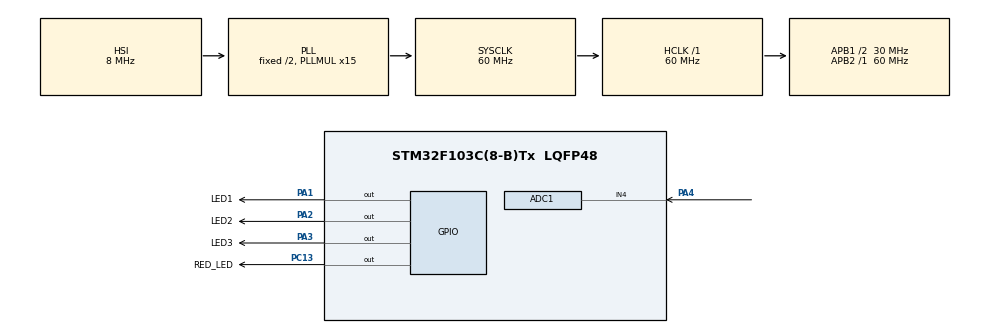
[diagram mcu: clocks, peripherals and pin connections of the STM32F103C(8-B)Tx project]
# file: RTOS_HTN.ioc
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ADC1.Channel-0\#ChannelRegularConversion=ADC_CHANNEL_4
ADC1.ExternalTrigConv=ADC_SOFTWARE_START
ADC1.NbrOfConversionFlag=1
ADC1.Rank-0\#ChannelRegularConversion=1
ADC1.SamplingTime-0\#ChannelRegularConversion=ADC_SAMPLETIME_1CYCLE_5
ADC1.master=1
Dma.ADC1.0.Direction=DMA_PERIPH_TO_MEMORY
Dma.ADC1.0.Instance=DMA1_Channel1
Dma.ADC1.0.MemDataAlignment=DMA_MDATAALIGN_HALFWORD
Dma.ADC1.0.MemInc=DMA_MINC_ENABLE
Dma.ADC1.0.Mode=DMA_NORMAL
Dma.ADC1.0.PeriphDataAlignment=DMA_PDATAALIGN_HALFWORD
Dma.ADC1.0.PeriphInc=DMA_PINC_DISABLE
Dma.ADC1.0.Priority=DMA_PRIORITY_MEDIUM
Dma.MEMTOMEM.1.Direction=DMA_MEMORY_TO_MEMORY
Dma.MEMTOMEM.1.Instance=DMA1_Channel2
Dma.MEMTOMEM.1.MemDataAlignment=DMA_MDATAALIGN_HALFWORD
Dma.MEMTOMEM.1.MemInc=DMA_MINC_ENABLE
Dma.MEMTOMEM.1.Mode=DMA_NORMAL
Dma.MEMTOMEM.1.PeriphDataAlignment=DMA_PDATAALIGN_HALFWORD
Dma.MEMTOMEM.1.PeriphInc=DMA_PINC_ENABLE
Dma.MEMTOMEM.1.Priority=DMA_PRIORITY_HIGH
Dma.Request0=ADC1
Dma.Request1=MEMTOMEM
FREERTOS.Queues01=ADC_QName,16,uint32_t,0,Static,ADC_QNameBuffer,ADC_QNameControlBlock
FREERTOS.Tasks01=defaultTask,1,150,StartDefaultTask,Default,NULL,Static,defaultTaskBuffer,defaultTaskControlBlock;myTask02,0,150,StartTask02,Default,NULL,Static,myTask02Buffer,myTask02ControlBlock;myTask03,0,150,StartTask03,Default,NULL,Static,myTask03Buffer,myTask03ControlBlock
Mcu.Family=STM32F1
Mcu.Name=STM32F103C(8-B)Tx
Mcu.Package=LQFP48
NVIC.DMA1_Channel1_IRQn=true\:7\:0\:true\:false\:true\:true\:false\:true\:true
NVIC.PriorityGroup=NVIC_PRIORITYGROUP_4
NVIC.TIM2_IRQn=true\:15\:0\:false\:false\:true\:false\:false\:true\:true
NVIC.TIM4_IRQn=true\:5\:0\:true\:false\:true\:true\:true\:true\:true
NVIC.TimeBase=TIM2_IRQn
NVIC.TimeBaseIP=TIM2
PA1.GPIO_Label=LED1
PA1.Signal=GPIO_Output
PA13.Mode=Serial_Wire
PA13.Signal=SYS_JTMS-SWDIO
PA14.Mode=Serial_Wire
PA14.Signal=SYS_JTCK-SWCLK
PA2.GPIO_Label=LED2
PA2.Signal=GPIO_Output
PA3.GPIO_Label=LED3
PA3.Signal=GPIO_Output
PA4.Signal=ADCx_IN4
PC13-TAMPER-RTC.GPIO_Label=RED_LED
PC13-TAMPER-RTC.Signal=GPIO_Output
ProjectManager.HeapSize=0x200
ProjectManager.StackSize=0x400
ProjectManager.TargetToolchain=MDK-ARM V5.32
RCC.ADCPresc=RCC_ADCPCLK2_DIV6
RCC.AHBFreq_Value=60000000
RCC.APB1CLKDivider=RCC_HCLK_DIV2
RCC.APB1Freq_Value=30000000
RCC.APB1TimFreq_Value=60000000
RCC.APB2Freq_Value=60000000
RCC.APB2TimFreq_Value=60000000
RCC.HCLKFreq_Value=60000000
RCC.PLLMUL=RCC_PLL_MUL15
RCC.SYSCLKFreq_VALUE=60000000
RCC.SYSCLKSource=RCC_SYSCLKSOURCE_PLLCLK
RCC.USBFreq_Value=60000000
SH.ADCx_IN4.0=ADC1_IN4,IN4
TIM4.AutoReloadPreload=TIM_AUTORELOAD_PRELOAD_ENABLE
TIM4.Period=50000
TIM4.Prescaler=599
VP_FREERTOS_VS_CMSIS_V1.Mode=CMSIS_V1
VP_SYS_VS_tim2.Mode=TIM2
VP_TIM4_VS_ClockSourceINT.Mode=Internal
board=custom

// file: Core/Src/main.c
/* USER CODE BEGIN Header */
/**
  ******************************************************************************
  * @file           : main.c
  * @brief          : Main program body
  ******************************************************************************
  * @attention
  *
  * Copyright (c) 2024 STMicroelectronics.
  * All rights reserved.
  *
  * This software is licensed under terms that can be found in the LICENSE file
  * in the root directory of this software component.
  * If no LICENSE file comes with this software, it is provided AS-IS.
  *
  ******************************************************************************
  */
/* USER CODE END Header */
#include "main.h"
#include "cmsis_os.h"

/* USER CODE BEGIN Includes */
#include <assert.h>
/* USER CODE END Includes */

/* USER CODE BEGIN PD */
#define ADC_Buffer_Size 1

// x starts at 0 and end at 63
#define FLASH_PAGE_X_OFFSET(x) (0x08000000UL + (0x400UL * x))
/* USER CODE END PD */

ADC_HandleTypeDef hadc1;
DMA_HandleTypeDef hdma_adc1;

TIM_HandleTypeDef htim4;

DMA_HandleTypeDef hdma_memtomem_dma1_channel2;
osThreadId defaultTaskHandle;
uint32_t defaultTaskBuffer[ 150 ];
osStaticThreadDef_t defaultTaskControlBlock;
osThreadId myTask02Handle;
uint32_t myTask02Buffer[ 150 ];
osStaticThreadDef_t myTask02ControlBlock;
osThreadId myTask03Handle;
uint32_t myTask03Buffer[ 150 ];
osStaticThreadDef_t myTask03ControlBlock;
osMessageQId ADC_QNameHandle;
uint8_t ADC_QNameBuffer[ 16 * sizeof( uint32_t ) ];
osStaticMessageQDef_t ADC_QNameControlBlock;
/* USER CODE BEGIN PV */
uint32_t ADC_Buffer;
uint32_t FLASH_Data;
extern FLASH_ProcessTypeDef pFlash;
/* USER CODE END PV */

void SystemClock_Config(void);
static void MX_GPIO_Init(void);
static void MX_DMA_Init(void);
static void MX_ADC1_Init(void);
static void MX_TIM4_Init(void);
void StartDefaultTask(void const * argument);
void StartTask02(void const * argument);
void StartTask03(void const * argument);

int main(void)
{

  /* MCU Configuration--------------------------------------------------------*/

  /* Reset of all peripherals, Initializes the Flash interface and the Systick. */
  HAL_Init();

  /* Configure the system clock */
  SystemClock_Config();

  /* Initialize all configured peripherals */
  MX_GPIO_Init();
  MX_DMA_Init();
  MX_ADC1_Init();
  MX_TIM4_Init();

  /* Create the queue(s) */
  /* definition and creation of ADC_QName */
  osMessageQStaticDef(ADC_QName, 16, uint32_t, ADC_QNameBuffer, &ADC_QNameControlBlock);
  ADC_QNameHandle = osMessageCreate(osMessageQ(ADC_QName), NULL);

  /* Create the thread(s) */
  /* definition and creation of defaultTask */
  osThreadStaticDef(defaultTask, StartDefaultTask, osPriorityAboveNormal, 0, 150, defaultTaskBuffer, &defaultTaskControlBlock);
  defaultTaskHandle = osThreadCreate(osThread(defaultTask), NULL);

  /* definition and creation of myTask02 */
  osThreadStaticDef(myTask02, StartTask02, osPriorityNormal, 0, 150, myTask02Buffer, &myTask02ControlBlock);
  myTask02Handle = osThreadCreate(osThread(myTask02), NULL);

  /* definition and creation of myTask03 */
  osThreadStaticDef(myTask03, StartTask03, osPriorityNormal, 0, 150, myTask03Buffer, &myTask03ControlBlock);
  myTask03Handle = osThreadCreate(osThread(myTask03), NULL);

  /* Start scheduler */
  osKernelStart();

  /* We should never get here as control is now taken by the scheduler */

  /* Infinite loop */
  while (1)
  {

  }
}

void SystemClock_Config(void)
{
  RCC_OscInitTypeDef RCC_OscInitStruct = {0};
  RCC_ClkInitTypeDef RCC_ClkInitStruct = {0};
  RCC_PeriphCLKInitTypeDef PeriphClkInit = {0};

  /** Initializes the RCC Oscillators according to the specified parameters
  * in the RCC_OscInitTypeDef structure.
  */
  RCC_OscInitStruct.OscillatorType = RCC_OSCILLATORTYPE_HSI;
  RCC_OscInitStruct.HSIState = RCC_HSI_ON;
  RCC_OscInitStruct.HSICalibrationValue = RCC_HSICALIBRATION_DEFAULT;
  RCC_OscInitStruct.PLL.PLLState = RCC_PLL_ON;
  RCC_OscInitStruct.PLL.PLLSource = RCC_PLLSOURCE_HSI_DIV2;
  RCC_OscInitStruct.PLL.PLLMUL = RCC_PLL_MUL15;
  if (HAL_RCC_OscConfig(&RCC_OscInitStruct) != HAL_OK)
  {
    Error_Handler();
  }

  /** Initializes the CPU, AHB and APB buses clocks
  */
  RCC_ClkInitStruct.ClockType = RCC_CLOCKTYPE_HCLK|RCC_CLOCKTYPE_SYSCLK
                              |RCC_CLOCKTYPE_PCLK1|RCC_CLOCKTYPE_PCLK2;
  RCC_ClkInitStruct.SYSCLKSource = RCC_SYSCLKSOURCE_PLLCLK;
  RCC_ClkInitStruct.AHBCLKDivider = RCC_SYSCLK_DIV1;
  RCC_ClkInitStruct.APB1CLKDivider = RCC_HCLK_DIV2;
  RCC_ClkInitStruct.APB2CLKDivider = RCC_HCLK_DIV1;

  if (HAL_RCC_ClockConfig(&RCC_ClkInitStruct, FLASH_LATENCY_2) != HAL_OK)
  {
    Error_Handler();
  }
  PeriphClkInit.PeriphClockSelection = RCC_PERIPHCLK_ADC;
  PeriphClkInit.AdcClockSelection = RCC_ADCPCLK2_DIV6;
  if (HAL_RCCEx_PeriphCLKConfig(&PeriphClkInit) != HAL_OK)
  {
    Error_Handler();
  }
}

static void MX_ADC1_Init(void)
{

  ADC_ChannelConfTypeDef sConfig = {0};

  /** Common config
  */
  hadc1.Instance = ADC1;
  hadc1.Init.ScanConvMode = ADC_SCAN_DISABLE;
  hadc1.Init.ContinuousConvMode = DISABLE;
  hadc1.Init.DiscontinuousConvMode = DISABLE;
  hadc1.Init.ExternalTrigConv = ADC_SOFTWARE_START;
  hadc1.Init.DataAlign = ADC_DATAALIGN_RIGHT;
  hadc1.Init.NbrOfConversion = 1;
  if (HAL_ADC_Init(&hadc1) != HAL_OK)
  {
    Error_Handler();
  }

  /** Configure Regular Channel
  */
  sConfig.Channel = ADC_CHANNEL_4;
  sConfig.Rank = ADC_REGULAR_RANK_1;
  sConfig.SamplingTime = ADC_SAMPLETIME_1CYCLE_5;
  if (HAL_ADC_ConfigChannel(&hadc1, &sConfig) != HAL_OK)
  {
    Error_Handler();
  }

}

static void MX_TIM4_Init(void)
{

  TIM_ClockConfigTypeDef sClockSourceConfig = {0};
  TIM_MasterConfigTypeDef sMasterConfig = {0};

  htim4.Instance = TIM4;
  htim4.Init.Prescaler = 599;
  htim4.Init.CounterMode = TIM_COUNTERMODE_UP;
  htim4.Init.Period = 50000;
  htim4.Init.ClockDivision = TIM_CLOCKDIVISION_DIV1;
  htim4.Init.AutoReloadPreload = TIM_AUTORELOAD_PRELOAD_ENABLE;
  if (HAL_TIM_Base_Init(&htim4) != HAL_OK)
  {
    Error_Handler();
  }
  sClockSourceConfig.ClockSource = TIM_CLOCKSOURCE_INTERNAL;
  if (HAL_TIM_ConfigClockSource(&htim4, &sClockSourceConfig) != HAL_OK)
  {
    Error_Handler();
  }
  sMasterConfig.MasterOutputTrigger = TIM_TRGO_RESET;
  sMasterConfig.MasterSlaveMode = TIM_MASTERSLAVEMODE_DISABLE;
  if (HAL_TIMEx_MasterConfigSynchronization(&htim4, &sMasterConfig) != HAL_OK)
  {
    Error_Handler();
  }

}

static void MX_DMA_Init(void)
{

  /* DMA controller clock enable */
  __HAL_RCC_DMA1_CLK_ENABLE();

  /* Configure DMA request hdma_memtomem_dma1_channel2 on DMA1_Channel2 */
  hdma_memtomem_dma1_channel2.Instance = DMA1_Channel2;
  hdma_memtomem_dma1_channel2.Init.Direction = DMA_MEMORY_TO_MEMORY;
  hdma_memtomem_dma1_channel2.Init.PeriphInc = DMA_PINC_ENABLE;
  hdma_memtomem_dma1_channel2.Init.MemInc = DMA_MINC_ENABLE;
  hdma_memtomem_dma1_channel2.Init.PeriphDataAlignment = DMA_PDATAALIGN_HALFWORD;
  hdma_memtomem_dma1_channel2.Init.MemDataAlignment = DMA_MDATAALIGN_HALFWORD;
  hdma_memtomem_dma1_channel2.Init.Mode = DMA_NORMAL;
  hdma_memtomem_dma1_channel2.Init.Priority = DMA_PRIORITY_HIGH;
  if (HAL_DMA_Init(&hdma_memtomem_dma1_channel2) != HAL_OK)
  {
    Error_Handler( );
  }

  /* DMA interrupt init */
  /* DMA1_Channel1_IRQn interrupt configuration */
  HAL_NVIC_SetPriority(DMA1_Channel1_IRQn, 7, 0);
  HAL_NVIC_EnableIRQ(DMA1_Channel1_IRQn);

}

static void MX_GPIO_Init(void)
{
  GPIO_InitTypeDef GPIO_InitStruct = {0};

  /* GPIO Ports Clock Enable */
  __HAL_RCC_GPIOC_CLK_ENABLE();
  __HAL_RCC_GPIOA_CLK_ENABLE();

  /*Configure GPIO pin Output Level */
  HAL_GPIO_WritePin(RED_LED_GPIO_Port, RED_LED_Pin, GPIO_PIN_RESET);

  /*Configure GPIO pin Output Level */
  HAL_GPIO_WritePin(GPIOA, LED1_Pin|LED2_Pin|LED3_Pin, GPIO_PIN_RESET);

  /*Configure GPIO pin : RED_LED_Pin */
  GPIO_InitStruct.Pin = RED_LED_Pin;
  GPIO_InitStruct.Mode = GPIO_MODE_OUTPUT_PP;
  GPIO_InitStruct.Pull = GPIO_NOPULL;
  GPIO_InitStruct.Speed = GPIO_SPEED_FREQ_LOW;
  HAL_GPIO_Init(RED_LED_GPIO_Port, &GPIO_InitStruct);

  /*Configure GPIO pins : LED1_Pin LED2_Pin LED3_Pin */
  GPIO_InitStruct.Pin = LED1_Pin|LED2_Pin|LED3_Pin;
  GPIO_InitStruct.Mode = GPIO_MODE_OUTPUT_PP;
  GPIO_InitStruct.Pull = GPIO_NOPULL;
  GPIO_InitStruct.Speed = GPIO_SPEED_FREQ_LOW;
  HAL_GPIO_Init(GPIOA, &GPIO_InitStruct);

}

/* USER CODE BEGIN 4 */

void HAL_ADC_ConvCpltCallback(ADC_HandleTypeDef* hadc)
{
	if (hadc->Instance == ADC1) {
			osMessagePut(ADC_QNameHandle, ADC_Buffer, 50);
	}
}

static HAL_StatusTypeDef FLASH_DMA_Write(uint32_t Address, uint32_t Data)
{
	HAL_StatusTypeDef rc;
	uint8_t nbiterations;

	/* Process Locked */
	__HAL_LOCK(&pFlash);
	// Wait for last operation to finish
	rc = FLASH_WaitForLastOperation(FLASH_TIMEOUT_VALUE);
	if (rc == HAL_OK) {
		nbiterations = 2U;
		for (uint8_t index = 0U; index < nbiterations; index++) {

			/* Clean the error context */
			pFlash.ErrorCode = HAL_FLASH_ERROR_NONE;
			/* Proceed to program the new data */
			SET_BIT(FLASH->CR, FLASH_CR_PG);
			/* Write data to the flash address - currently not using DMA */
			Address = Address + (2U * index);
			Data = (uint16_t)(Data >> (16U * index));
			/* Use CPU */
			// *(__IO uint16_t*)Address = Data;
			/* Use DMA */
			HAL_DMA_Start(&hdma_memtomem_dma1_channel2, (uint32_t)&Data, Address, 1);
			while (HAL_DMA_PollForTransfer(&hdma_memtomem_dma1_channel2, HAL_DMA_FULL_TRANSFER, 100) != HAL_OK);
			/* End write to flash */

			/* Wait for last operation to be completed */
			rc = FLASH_WaitForLastOperation(FLASH_TIMEOUT_VALUE);

			/* If the program operation is completed, disable the PG Bit */
			CLEAR_BIT(FLASH->CR, FLASH_CR_PG);

			/* In case of error, stop writing to flash */
			if (rc != HAL_OK) {
				break;
			}
		}
	}

	/* Process Unlocked */
	__HAL_UNLOCK(&pFlash);

	return rc;
}

/* USER CODE END 4 */

void StartDefaultTask(void const * argument)
{
  /* USER CODE BEGIN 5 */
  /* Infinite loop */
	HAL_StatusTypeDef rc;
	FLASH_EraseInitTypeDef pEraseInit;
	uint32_t PageError;

	rc = HAL_TIM_Base_Start_IT(&htim4);
	assert(rc == HAL_OK && "Cannot start TIM4 clock for ADC sampling application");

	pEraseInit.Banks = FLASH_BANK_1;
	pEraseInit.NbPages = 1;
	pEraseInit.PageAddress = FLASH_PAGE_X_OFFSET(50);
	pEraseInit.TypeErase = FLASH_TYPEERASE_PAGES;

	for(;;)
  {
		// event.value.v hold the actual message (eg. the ADC1 data)
		osEvent event = osMessageGet(ADC_QNameHandle, osWaitForever);
		HAL_GPIO_TogglePin(LED1_GPIO_Port, LED1_Pin);
		// Unlock flash
		HAL_FLASH_Unlock();
		// Erase first
		HAL_FLASHEx_Erase(&pEraseInit, &PageError);
		// Write to flash
		// HAL function to write to FLASH using CPU - HAL_FLASH_Program(FLASH_TYPEPROGRAM_WORD, FLASH_PAGE_X_OFFSET(50), event.value.v);
		FLASH_DMA_Write(FLASH_PAGE_X_OFFSET(50), event.value.v);
		// Lock flash
		HAL_FLASH_Lock();

		// Read Flash
		FLASH_Data = *(__IO uint32_t *)(FLASH_PAGE_X_OFFSET(50));
  }
  /* USER CODE END 5 */
}

void StartTask02(void const * argument)
{
  /* USER CODE BEGIN StartTask02 */
  /* Infinite loop */
  for(;;)
  {
		HAL_GPIO_TogglePin(LED2_GPIO_Port, LED2_Pin);
		osDelay(200);
  }
  /* USER CODE END StartTask02 */
}

void StartTask03(void const * argument)
{
  /* USER CODE BEGIN StartTask03 */
  /* Infinite loop */
  for(;;)
  {
		HAL_GPIO_TogglePin(LED3_GPIO_Port, LED3_Pin);
		osDelay(200);
  }
  /* USER CODE END StartTask03 */
}

void HAL_TIM_PeriodElapsedCallback(TIM_HandleTypeDef *htim)
{
  if (htim->Instance == TIM2) {
    HAL_IncTick();
  }
  /* USER CODE BEGIN Callback 1 */
	if (htim->Instance == TIM4) {
		HAL_ADC_Start_DMA(&hadc1, &ADC_Buffer, ADC_Buffer_Size);
	}
  /* USER CODE END Callback 1 */
}

void Error_Handler(void)
{
  __disable_irq();
  while (1)
  {
  }
}
